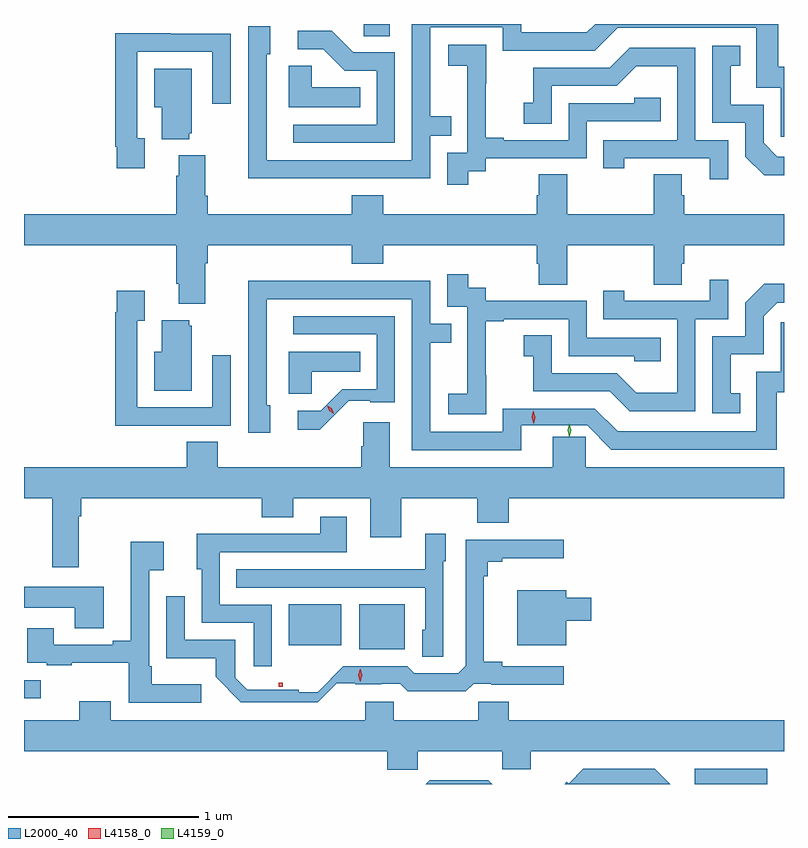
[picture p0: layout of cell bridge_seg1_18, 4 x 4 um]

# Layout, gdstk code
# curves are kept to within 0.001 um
import gdstk
lib = gdstk.Library(unit=1e-6, precision=1e-09)
def R(c, l, rs):  # rectangles x0, y0, x1, y1
    for r in rs: c.add(gdstk.rectangle(r[:2], r[2:], *l))
def P(c, l, *ps):  # polygons
    for p in ps: c.add(gdstk.Polygon(p, *l))
L2000_40 = (2000, 40)
L4158_0 = (4158, 0)
L4159_0 = (4159, 0)

bridge_seg1_18 = lib.new_cell('bridge_seg1_18')
R(bridge_seg1_18, L2000_40, [(833.943,540.904,834.325,540.984), (830.413,541.355,830.5,541.449), (832.178,541.613,832.417,541.849), (831.806,541.634,832.084,541.849), (832.2,544.84,832.339,544.904)])
P(bridge_seg1_18, L2000_40, [(832.055,544.092),(832.551,544.092),(832.551,544.317),(832.661,544.317),(832.661,544.418),(832.551,544.418),(832.551,544.887),(832.932,544.887),(832.932,544.764),(833.418,544.764),(833.538,544.884),(834.267,544.884),(834.267,544.569),(834.396,544.569),(834.396,544.311),(834.413,544.311),(834.413,544.678),(834.383,544.678),(834.383,544.904),(833.42,544.904),(833.376,544.86),(833.029,544.86),(833.029,544.904),(832.455,544.904),(832.455,544.188),(831.69,544.188),(831.69,544.746),(831.709,544.746),(831.709,544.891),(831.594,544.891),(831.594,544.397),(831.592,544.397),(831.592,544.091)],
  [(832.365,544.755),(832.146,544.755),(832.033,544.868),(831.855,544.868),(831.855,544.77),(831.989,544.77),(832.1,544.659),(832.269,544.659),(832.269,544.374),(831.831,544.374),(831.831,544.278),(832.365,544.278)],
  [(831.049,544.302),(831.009,544.302),(831.009,544.758),(831.405,544.758),(831.405,544.485),(831.501,544.485),(831.501,544.854),(831.185,544.854),(831.185,544.856),(830.893,544.856),(830.893,544.258),(830.901,544.258),(830.901,544.146),(831.049,544.146)],
  [(832.75,544.129),(832.842,544.129),(832.842,544.197),(833.376,544.197),(833.376,544.392),(833.765,544.392),(833.765,544.515),(833.625,544.515),(833.625,544.488),(833.28,544.488),(833.28,544.293),(832.939,544.293),(832.939,544.306),(832.844,544.306),(832.844,544.589),(832.845,544.589),(832.845,544.795),(832.647,544.795),(832.647,544.685),(832.745,544.685),(832.745,544.457),(832.746,544.457),(832.746,544.227),(832.641,544.227),(832.641,544.059),(832.75,544.059)],
  [(834.413,544.206),(834.378,544.206),(834.306,544.278),(834.306,544.479),(834.133,544.479),(834.133,544.683),(834.182,544.683),(834.182,544.789),(834.036,544.789),(834.036,544.383),(834.21,544.383),(834.21,544.206),(834.308,544.109),(834.413,544.109)],
  [(834.12,544.293),(833.946,544.293),(833.946,544.779),(833.6,544.779),(833.495,544.674),(833.092,544.674),(833.092,544.489),(833.043,544.489),(833.043,544.38),(833.19,544.38),(833.19,544.578),(833.532,544.578),(833.636,544.682),(833.85,544.682),(833.85,544.293),(833.461,544.293),(833.461,544.146),(833.572,544.146),(833.572,544.197),(834.023,544.197),(834.023,544.086),(834.12,544.086)],
  [(832.184,544.57),(831.927,544.57),(831.927,544.685),(831.806,544.685),(831.806,544.466),(832.184,544.466)],
  [(831.284,544.329),(831.295,544.329),(831.295,544.669),(831.098,544.669),(831.098,544.466),(831.137,544.466),(831.137,544.298),(831.284,544.298)],
  [(831.227,544.213),(831.227,544.106),(831.215,544.106),(831.215,543.904),(830.413,543.904),(830.413,543.74),(831.215,543.74),(831.215,543.538),(831.227,543.538),(831.227,543.431),(831.367,543.431),(831.367,543.644),(831.38,543.644),(831.38,543.74),(832.139,543.74),(832.139,543.641),(832.304,543.641),(832.304,543.74),(833.111,543.74),(833.111,543.642),(833.123,543.642),(833.123,543.532),(833.271,543.532),(833.271,543.74),(833.728,543.74),(833.728,543.532),(833.875,543.532),(833.875,543.642),(833.888,543.642),(833.888,543.74),(834.413,543.74),(834.413,543.904),(833.888,543.904),(833.888,544.002),(833.875,544.002),(833.875,544.112),(833.728,544.112),(833.728,543.904),(833.271,543.904),(833.271,544.112),(833.123,544.112),(833.123,544.002),(833.111,544.002),(833.111,543.904),(832.304,543.904),(832.304,544.003),(832.139,544.003),(832.139,543.904),(831.38,543.904),(831.38,544),(831.367,544),(831.367,544.213)],
  [(832.845,543.055),(832.844,543.055),(832.844,543.339),(832.939,543.339),(832.939,543.351),(833.28,543.351),(833.28,543.156),(833.625,543.156),(833.625,543.129),(833.765,543.129),(833.765,543.252),(833.376,543.252),(833.376,543.447),(832.842,543.447),(832.842,543.516),(832.75,543.516),(832.75,543.586),(832.641,543.586),(832.641,543.417),(832.746,543.417),(832.746,543.188),(832.745,543.188),(832.745,542.959),(832.647,542.959),(832.647,542.849),(832.845,542.849)],
  [(833.946,543.351),(834.12,543.351),(834.12,543.559),(834.023,543.559),(834.023,543.447),(833.572,543.447),(833.572,543.499),(833.461,543.499),(833.461,543.351),(833.85,543.351),(833.85,542.962),(833.636,542.962),(833.532,543.066),(833.19,543.066),(833.19,543.265),(833.043,543.265),(833.043,543.155),(833.092,543.155),(833.092,542.97),(833.495,542.97),(833.6,542.865),(833.946,542.865)],
  [(833.029,542.792),(833.377,542.792),(833.504,542.664),(834.376,542.664),(834.376,542.967),(834.413,542.967),(834.413,543.334),(834.396,543.334),(834.396,543.075),(834.267,543.075),(834.267,542.76),(833.538,542.76),(833.418,542.88),(832.932,542.88),(832.932,542.757),(832.551,542.757),(832.551,543.226),(832.661,543.226),(832.661,543.327),(832.551,543.327),(832.551,543.552),(832.055,543.552),(832.055,543.554),(831.592,543.554),(831.592,543.247),(831.594,543.247),(831.594,542.754),(831.709,542.754),(831.709,542.898),(831.69,542.898),(831.69,543.456),(832.455,543.456),(832.455,542.661),(833.029,542.661)],
  [(834.182,542.961),(834.133,542.961),(834.133,543.165),(834.306,543.165),(834.306,543.366),(834.378,543.438),(834.413,543.438),(834.413,543.536),(834.308,543.536),(834.21,543.438),(834.21,543.261),(834.036,543.261),(834.036,542.856),(834.182,542.856)],
  [(831.185,542.79),(831.501,542.79),(831.501,543.16),(831.405,543.16),(831.405,542.886),(831.009,542.886),(831.009,543.343),(831.049,543.343),(831.049,543.499),(830.901,543.499),(830.901,543.386),(830.893,543.386),(830.893,542.789),(831.185,542.789)],
  [(832.121,542.92),(832.235,542.92),(832.235,542.912),(832.365,542.912),(832.365,543.366),(831.831,543.366),(831.831,543.27),(832.269,543.27),(832.269,542.982),(832.088,542.982),(831.974,542.868),(831.855,542.868),(831.855,542.769),(831.97,542.769)],
  [(831.295,543.315),(831.284,543.315),(831.284,543.346),(831.137,543.346),(831.137,543.178),(831.098,543.178),(831.098,542.975),(831.295,542.975)],
  [(831.927,543.074),(832.184,543.074),(832.184,543.178),(831.806,543.178),(831.806,542.959),(831.927,542.959)],
  [(830.413,542.408),(830.561,542.408),(830.561,542.046),(830.701,542.046),(830.701,542.312),(830.714,542.312),(830.714,542.408),(831.665,542.408),(831.665,542.309),(831.829,542.309),(831.829,542.408),(832.235,542.408),(832.235,542.202),(832.399,542.202),(832.399,542.408),(832.799,542.408),(832.799,542.28),(832.963,542.28),(832.963,542.408),(834.413,542.408),(834.413,542.572),(833.37,542.572),(833.37,542.731),(833.195,542.731),(833.195,542.572),(832.339,542.572),(832.339,542.809),(832.199,542.809),(832.199,542.682),(832.187,542.682),(832.187,542.572),(831.434,542.572),(831.434,542.705),(831.269,542.705),(831.269,542.572),(830.413,542.572)],
  [(831.717,541.848),(831.444,541.848),(831.444,542.124),(832.111,542.124),(832.111,542.311),(831.971,542.311),(831.971,542.22),(831.541,542.22),(831.541,542.222),(831.323,542.222),(831.323,542.034),(831.348,542.034),(831.348,541.752),(831.621,541.752),(831.621,541.524),(831.717,541.524)],
  [(832.62,542.076),(832.633,542.076),(832.633,542.221),(832.524,542.221),(832.524,542.035),(832.207,542.035),(832.207,542.034),(831.529,542.034),(831.529,541.938),(832.524,541.938),(832.524,541.716),(832.508,541.716),(832.508,541.573),(832.62,541.573)],
  [(832.059,541.434),(832.156,541.434),(832.156,541.428),(832.292,541.428),(832.292,541.431),(832.392,541.431),(832.432,541.392),(832.739,541.392),(832.779,541.431),(832.873,541.431),(832.873,541.427),(833.254,541.427),(833.254,541.524),(832.93,541.524),(832.93,541.547),(832.834,541.547),(832.834,541.997),(832.853,541.997),(832.853,542.074),(832.93,542.074),(832.93,542.093),(833.254,542.093),(833.254,542.19),(832.737,542.19),(832.737,541.527),(832.698,541.488),(832.467,541.488),(832.431,541.524),(832.094,541.524),(831.958,541.388),(831.858,541.388),(831.858,541.4),(831.588,541.4),(831.525,541.463),(831.525,541.662),(831.258,541.662),(831.258,541.891),(831.162,541.891),(831.162,541.565),(831.423,541.565),(831.423,541.468),(831.555,541.335),(831.96,541.335)],
  [(831.346,541.429),(831.085,541.429),(831.085,541.525),(831.072,541.525),(831.072,542.03),(831.148,542.03),(831.148,542.179),(830.975,542.179),(830.975,541.657),(830.879,541.657),(830.879,541.638),(830.569,541.638),(830.569,541.723),(830.429,541.723),(830.429,541.542),(830.533,541.542),(830.533,541.53),(830.665,541.53),(830.665,541.541),(830.964,541.541),(830.964,541.332),(831.346,541.332)],
  [(830.833,541.942),(830.413,541.942),(830.413,541.832),(830.681,541.832),(830.681,541.723),(830.833,541.723)],
  [(833.266,541.763),(833.398,541.763),(833.398,541.885),(833.266,541.885),(833.266,541.924),(833.009,541.924),(833.009,541.634),(833.266,541.634)],
  [(832.485,541.076),(832.93,541.076),(832.93,540.981),(833.08,540.981),(833.08,541.076),(834.413,541.076),(834.413,541.24),(832.964,541.24),(832.964,541.338),(832.804,541.338),(832.804,541.24),(832.359,541.24),(832.359,541.338),(832.208,541.338),(832.208,541.24),(830.869,541.24),(830.869,541.339),(830.705,541.339),(830.705,541.24),(830.413,541.24),(830.413,541.076),(832.325,541.076),(832.325,540.978),(832.485,540.978)],
  [(833.734,540.984),(833.357,540.984),(833.279,540.906),(833.27,540.916),(833.258,540.904),(833.815,540.904)],
  [(832.857,540.925),(832.549,540.925),(832.528,540.904),(832.878,540.904)])
R(bridge_seg1_18, L4158_0, [(831.755,541.417,831.775,541.437)])
P(bridge_seg1_18, L4158_0, [(832.182,541.443),(832.182,541.443),(832.173,541.477),(832.183,541.51),(832.183,541.51),(832.183,541.51),(832.192,541.476),(832.182,541.443)],
  [(832.044,542.854),(832.019,542.868),(832.008,542.896),(832.008,542.896),(832.008,542.896),(832.034,542.882),(832.044,542.854),(832.044,542.854)],
  [(833.096,542.8),(833.096,542.8),(833.085,542.834),(833.094,542.868),(833.094,542.869),(833.094,542.868),(833.105,542.834),(833.096,542.8)])
P(bridge_seg1_18, L4159_0, [(833.284,542.729),(833.284,542.73),(833.274,542.765),(833.284,542.801),(833.284,542.801),(833.284,542.801),(833.294,542.765),(833.284,542.73)])

lib.write_gds('bridge_seg1_18.gds')
